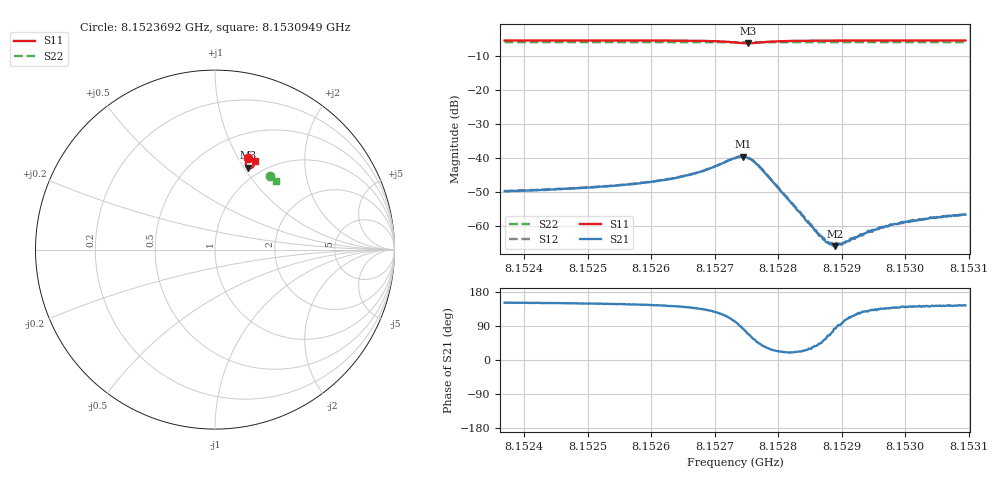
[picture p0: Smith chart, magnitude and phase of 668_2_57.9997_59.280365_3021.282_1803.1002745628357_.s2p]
#  HZ  S  RI  R  50.00
! Rohde & Schwarz Vector Network Analyzer
! Rohde-Schwarz,ZNB20-2Port,1311601062101988,3.16
! Created: UTC 3/21/2024, 1:20:14 AM
! freq[Hz]  re:S11  im:S11  re:S21  im:S21  re:S12  im:S12  re:S22  im:S22
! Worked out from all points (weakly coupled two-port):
!   401 points, 8.1523692 GHz to 8.1530949 GHz, reference 50 ohm
!   highest |S21| = -39.52 dB at 8.1527447 GHz (marker M1); lowest = -65.9 dB at 8.1528899 GHz (marker M2)
!   lowest |S11| = -6.2 dB at 8.152752 GHz (marker M3), VSWR 2.93, Z = 43.4 + j52.2 ohm
!   |S11| at or under -10 dB: nowhere
!   |S22| runs from -5.9 to -5.8 dB; largest |S21 - S12| = 0.00029
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8.15236916e9  0.182 0.509  -0.00287 0.0016  -0.00287 0.00162  0.3052 0.4104
8.15249072e9  0.1918 0.5053  -0.00314 0.00188  -0.00311 0.00193  0.3115 0.4056
8.1525633e9  0.1984 0.5022  -0.00344 0.00226  -0.0034 0.00229  0.3151 0.4027
8.15261229e9  0.2039 0.4992  -0.00379 0.00274  -0.00377 0.00281  0.3174 0.4007
8.15264132e9  0.2076 0.4964  -0.00409 0.00322  -0.00404 0.00326  0.319 0.3993
8.15267398e9  0.2127 0.4908  -0.00443 0.00431  -0.0044 0.00437  0.3205 0.3977
8.15273204e9  0.2097 0.4598  -0.00199 0.00978  -0.00185 0.01  0.3226 0.3943
8.15274474e9  0.195 0.4536  0.00142 0.0105  0.00136 0.0104  0.3227 0.394
8.152752e9  0.1845 0.4557  0.0035 0.00946  0.00345 0.0096  0.3227 0.3939
8.15276289e9  0.1738 0.4661  0.00515 0.00709  0.00538 0.00697  0.3229 0.3942
8.15277559e9  0.1717 0.4799  0.00528 0.00407  0.00539 0.00412  0.3237 0.3941
8.15285361e9  0.1951 0.4999  0.00082 0.000545  0.000848 0.00048  0.3285 0.3912
8.15286449e9  0.1969 0.4999  0.000554 0.000521  0.000531 0.000477  0.329 0.3907
8.1528772e9  0.1991 0.4998  0.000267 0.00051  0.000307 0.000523  0.3296 0.3902
8.15288445e9  0.2001 0.4997  0.000158 0.000508  0.000176 0.000539  0.3302 0.3898
8.1528899e9  0.201 0.4997  6.37e-05 0.000504  0.000107 0.000543  0.3303 0.3895
8.15289715e9  0.202 0.4995  -1.62e-05 0.000546  2.18e-05 0.000558  0.3307 0.3894
8.15290804e9  0.2033 0.4994  -0.000181 0.000567  -0.000178 0.000563  0.3312 0.3888
8.15294433e9  0.2076 0.4985  -0.000538 0.00062  -0.000541 0.000636  0.3331 0.3873
8.15297517e9  0.2106 0.4976  -0.000745 0.000708  -0.00073 0.000696  0.3345 0.3861
8.15301509e9  0.2141 0.4965  -0.000928 0.000754  -0.000975 0.000807  0.3364 0.3843
8.15309493e9  0.2205 0.4942  -0.0012 0.000872  -0.0012 0.000869  0.3403 0.3808
